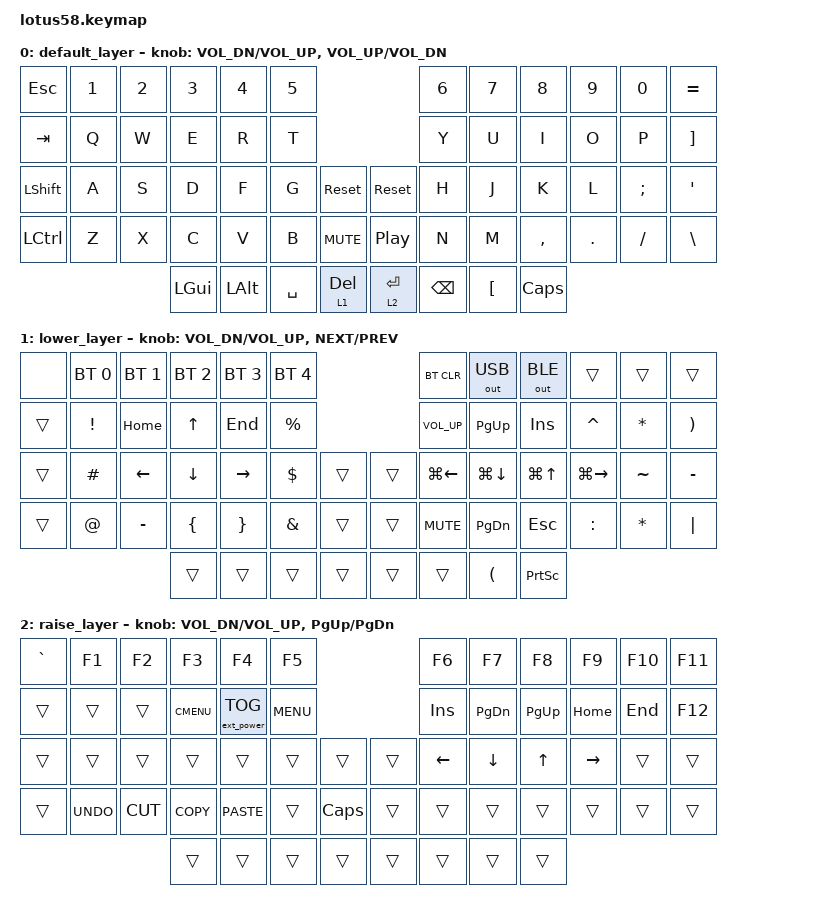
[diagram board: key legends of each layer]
/*
 * Copyright (c) 2022 The ZMK Contributors
 *
 * SPDX-License-Identifier: MIT
 */

#include <behaviors.dtsi>
#include <dt-bindings/zmk/bt.h>
#include <dt-bindings/zmk/ext_power.h>
#include <dt-bindings/zmk/keys.h>
#include <dt-bindings/zmk/outputs.h>

/ {
    combos {
        compatible = "zmk,combos";

        combo_dsklg {
            timeout-ms = <100>;
            key-positions = <24 52>;
            layers = <0>;
            bindings = <&kp LGUI>;
        };
    };

    behaviors {
        fofunc: four_ffour {
            compatible = "zmk,behavior-mod-morph";
            #binding-cells = <0>;
            bindings = <&kp N4>, <&kp F4>;

            mods = <(MOD_LALT|MOD_RALT)>;
        };

        sleft: s_left {
            compatible = "zmk,behavior-mod-morph";
            #binding-cells = <0>;
            bindings = <&kp S>, <&kp LEFT>;

            mods = <(MOD_LGUI|MOD_RGUI)>;
        };

        fright: f_right {
            compatible = "zmk,behavior-mod-morph";
            #binding-cells = <0>;
            bindings = <&kp F>, <&kp RIGHT>;

            mods = <(MOD_LGUI|MOD_RGUI)>;
        };
    };

    keymap {
        compatible = "zmk,keymap";

        default_layer {
            //   ------------------------------------------------------------------------------------------------------------
            //  0|  ESC  |  1  |  2  |  3   |  4   |  5   |                     |  6   |  7    |  8    |  9   |   0   |   =   | 11
            // 12|  TAB  |  Q  |  W  |  E   |  R   |  T   |                     |  Y   |  U    |  I    |  O   |   P   |   [   | 23
            // 24|  SFT  |  A  |  S  |  D   |  F   |  G   |  RESET  |  | RESET  |  H   |  J    |  K    |  L   |   ;   | ' SFT | 37
            // 38|  CTRL |  Z  |  X  |  C   |  V   |  B   |  MUTE   |  | PLAY   |  N   |  M    |  ,    |  .   |   /   | \ CTRL| 51
            // 52                    |ENT RS|  ALT | SPACE|DELETE LW|  |ENTER RS| BSPC |  ] LW | RGUI  |                        59

            bindings = <
&kp ESC    &kp N1  &kp N2  &kp N3    &kp N4    &kp N5                             &kp N6    &kp N7    &kp N8     &kp N9   &kp N0    &kp EQUAL
&kp TAB    &kp Q   &kp W   &kp E     &kp R     &kp T                              &kp Y     &kp U     &kp I      &kp O    &kp P     &kp RBKT
&kp LSHFT  &kp A   &kp S   &kp D     &kp F     &kp G      &sys_reset  &sys_reset  &kp H     &kp J     &kp K      &kp L    &kp SEMI  &kp SQT
&kp LCTRL  &kp Z   &kp X   &kp C     &kp V     &kp B      &kp C_MUTE  &kp C_PP    &kp N     &kp M     &kp COMMA  &kp DOT  &kp FSLH  &kp BSLH
                           &kp LGUI  &kp LALT  &kp SPACE  &lt 1 DEL   &lt 2 RET   &kp BSPC  &kp LBKT  &kp CAPS
            >;

            sensor-bindings =
                <&inc_dec_kp C_VOL_DN C_VOL_UP>,
                <&inc_dec_kp C_VOL_UP C_VOL_DN>;
        };

        lower_layer {
            // ------------------------------------------------------------------------------------------------------------
            // | `     |  F1 |  F2 |  F3  |  F4  |  F5  |                   |  F6  |  F7   |  F8   |  F9  |  F10  |  F11  |
            // |       |  !  | HOME|   ^  |  END |  %   |                   | VOL^ |  PGUP |  INS  |  ^   |  PSCR |   -   |
            // |       |  #  |  <- |   v  | ->   |  $   |        |  |       | VOLv |    <- |   ^   |  ->  |   ~   |   _   |
            // |       |  @  |  -  |  (   |  )   |  &   |        |  |       | MUTE |  PGDN |   v   |  :   |   *   |   |   |
            //                     |  F11 |      |      |        |  |       |      |       |  F12  |

            bindings = <
&none   &bt BT_SEL 0  &bt BT_SEL 1  &bt BT_SEL 2  &bt BT_SEL 3  &bt BT_SEL 4                  &bt BT_CLR    &out OUT_USB          &out OUT_BLE     &trans         &trans        &trans
&trans  &kp EXCL      &kp HOME      &kp UP        &kp END       &kp PRCNT                     &kp C_VOL_UP  &kp PG_UP             &kp INS          &kp CARET      &kp ASTERISK  &kp RIGHT_PARENTHESIS
&trans  &kp HASH      &kp LEFT      &kp DOWN      &kp RIGHT     &kp DLLR      &trans  &trans  &kp LG(LEFT)  &kp LG(DOWN)          &kp LG(UP)       &kp LG(RIGHT)  &kp TILDE     &kp MINUS
&trans  &kp AT        &kp MINUS     &kp LBRC      &kp RBRC      &kp AMPS      &trans  &trans  &kp C_MUTE    &kp PG_DN             &kp ESCAPE       &kp COLON      &kp STAR      &kp PIPE
                                    &trans        &trans        &trans        &trans  &trans  &trans        &kp LEFT_PARENTHESIS  &kp PRINTSCREEN
            >;

            sensor-bindings = <&inc_dec_kp C_VOL_DN C_VOL_UP &inc_dec_kp C_NEXT C_PREV>;
        };

        raise_layer {
            // ------------------------------------------------------------------------------------------------------------
            // |BTCLR| BT1  | BT2  |  BT3  |  BT4  |  BT5 |                |OUTTOG|OUTUSB| OUTBT |      | RESET | FLASH |
            // |     | INS  | PSCR | GUI   | RESET |      |                |      | PGDN | PGUP  |      |       |       |
            // |     | ALT  | CTRL | SHIFT | FLASH | CAPS |      |  |      |  <-  |   v  |   ^   |  ->  |  DEL  | BSPC  |
            // |     | UNDO | CUT  | COPY  | PASTE |      |      |  |      |      |  |>  |  <|<| | |>|> |       |       |
            //                     |       |       |      |      |  |      |      |      |       |

            bindings = <
&kp GRAVE  &kp F1      &kp F2     &kp F3       &kp F4             &kp F5                            &kp F6      &kp F7     &kp F8     &kp F9     &kp F10  &kp F11
&trans     &trans      &trans     &kp K_CMENU  &ext_power EP_TOG  &kp K_MENU                        &kp INSERT  &kp PG_DN  &kp PG_UP  &kp HOME   &kp END  &kp F12
&trans     &trans      &trans     &trans       &trans             &trans      &trans        &trans  &kp LEFT    &kp DOWN   &kp UP     &kp RIGHT  &trans   &trans
&trans     &kp K_UNDO  &kp K_CUT  &kp K_COPY   &kp K_PASTE        &trans      &kp CAPSLOCK  &trans  &trans      &trans     &trans     &trans     &trans   &trans
                                  &trans       &trans             &trans      &trans        &trans  &trans      &trans     &trans
            >;

            sensor-bindings = <&inc_dec_kp C_VOL_DN C_VOL_UP &inc_dec_kp PG_UP PG_DN>;
        };
    };
};
